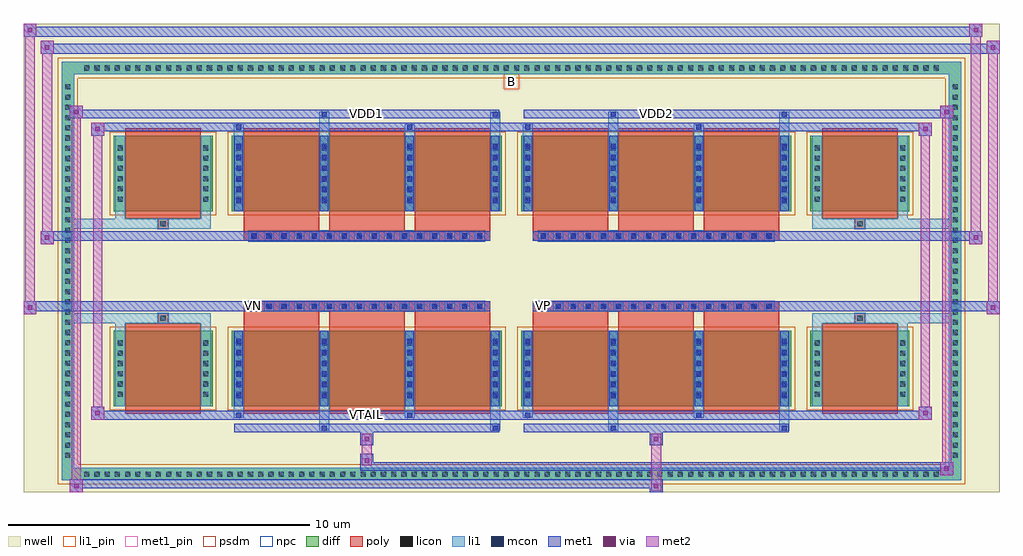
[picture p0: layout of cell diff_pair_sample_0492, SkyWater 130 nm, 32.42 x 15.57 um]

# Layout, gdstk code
import gdstk
lib = gdstk.Library(unit=1e-6, precision=5e-09)
def R(c, l, rs):  # rectangles x0, y0, x1, y1
    for r in rs: c.add(gdstk.rectangle(r[:2], r[2:], *l))
def A(c, l, x, y, w, h, nx, ny, dx, dy):  # array of equal rectangles
    R(c, l, [(x+i*dx, y+j*dy, x+i*dx+w, y+j*dy+h) for i in range(nx) for j in range(ny)])
def P(c, l, *ps):  # polygons
    for p in ps: c.add(gdstk.Polygon(p, *l))
nwell = (64, 20)
diff = (65, 20)
poly = (66, 20)
licon = (66, 44)
li1_pin = (67, 16)
li1 = (67, 20)
mcon = (67, 44)
met1_pin = (68, 16)
met1 = (68, 20)
via = (68, 44)
met2 = (69, 20)
psdm = (94, 20)
npc = (95, 20)

diff_pair_sample_0492 = lib.new_cell('diff_pair_sample_0492')
R(diff_pair_sample_0492, nwell, [(-16.21,-7.35,16.21,8.22), (-13.53,-5.54,-0.01,-0.8), (0.01,-5.54,13.53,-0.8), (-13.53,0.8,-0.01,5.54), (0.01,0.8,13.53,5.54)])
A(diff_pair_sample_0492, diff, -14.315, -6.95, 0.41, 0.41, 84, 2, 0.34, 13.49)
A(diff_pair_sample_0492, diff, -14.94, -6.325, 0.41, 0.41, 1, 37, 0, 0.34)
A(diff_pair_sample_0492, diff, 14.53, -6.325, 0.41, 0.41, 1, 37, 0, 0.34)
R(diff_pair_sample_0492, diff, [(-14.315,-6.95,14.315,-6.54), (-14.94,-6.325,-14.53,6.325), (14.53,-6.325,14.94,6.325), (-13.22,-4.495,-9.93,-1.985), (-9.29,-4.495,-0.32,-1.985), (0.32,-4.495,9.29,-1.985), (9.93,-4.495,13.22,-1.985), (-13.22,1.985,-9.93,4.495), (-9.29,1.985,-0.32,4.495), (0.32,1.985,9.29,4.495), (9.93,1.985,13.22,4.495), (-14.315,6.54,14.315,6.95)])
P(diff_pair_sample_0492, diff, [(14.94,6.95),(-14.94,6.95),(-14.94,-6.54),(-14.53,-6.54),(-14.53,6.54),(14.53,6.54),(14.53,-6.54),(-14.53,-6.54),(-14.94,-6.54),(-14.94,-6.95),(14.94,-6.95)])
A(diff_pair_sample_0492, poly, -8.9, -4.745, 2.51, 3.01, 3, 2, 2.84, 6.48)
A(diff_pair_sample_0492, poly, 0.71, -4.745, 2.51, 3.01, 3, 2, 2.84, 6.48)
A(diff_pair_sample_0492, poly, -8.9, -1.735, 2.51, 0.405, 3, 2, 2.84, 3.065)
A(diff_pair_sample_0492, poly, 0.71, -1.735, 2.51, 0.405, 3, 2, 2.84, 3.065)
A(diff_pair_sample_0492, poly, -8.72, -1.33, 0.33, 0.33, 16, 2, 0.5, 2.33)
A(diff_pair_sample_0492, poly, 0.89, -1.33, 0.33, 0.33, 16, 2, 0.5, 2.33)
R(diff_pair_sample_0492, poly, [(-12.83,-4.745,-10.32,-1.735), (10.32,-4.745,12.83,-1.735), (-11.74,-1.735,-11.41,-1.405), (-11.74,-1.735,-11.41,-1.405), (11.41,-1.735,11.74,-1.405), (11.41,-1.735,11.74,-1.405), (-8.9,-1.33,-0.71,-1), (0.71,-1.33,8.9,-1), (-8.9,1,-0.71,1.33), (0.71,1,8.9,1.33), (-11.74,1.405,-11.41,1.735), (-11.74,1.405,-11.41,1.735), (11.41,1.405,11.74,1.735), (11.41,1.405,11.74,1.735), (-12.83,1.735,-10.32,4.745), (10.32,1.735,12.83,4.745)])
A(diff_pair_sample_0492, licon, -14.195, -6.83, 0.17, 0.17, 84, 2, 0.34, 13.49)
A(diff_pair_sample_0492, licon, -14.82, -6.205, 0.17, 0.17, 1, 37, 0, 0.34)
A(diff_pair_sample_0492, licon, 14.65, -6.205, 0.17, 0.17, 1, 37, 0, 0.34)
A(diff_pair_sample_0492, licon, -13.08, -4.175, 0.17, 0.17, 1, 6, 0, 0.34)
A(diff_pair_sample_0492, licon, -10.24, -4.175, 0.17, 0.17, 1, 6, 0, 0.34)
A(diff_pair_sample_0492, licon, -9.15, -4.175, 0.17, 0.17, 4, 6, 2.84, 0.34)
A(diff_pair_sample_0492, licon, 0.46, -4.175, 0.17, 0.17, 4, 6, 2.84, 0.34)
A(diff_pair_sample_0492, licon, 10.07, -4.175, 0.17, 0.17, 1, 6, 0, 0.34)
A(diff_pair_sample_0492, licon, 12.91, -4.175, 0.17, 0.17, 1, 6, 0, 0.34)
A(diff_pair_sample_0492, licon, -8.64, -1.25, 0.17, 0.17, 16, 2, 0.5, 2.33)
A(diff_pair_sample_0492, licon, 0.97, -1.25, 0.17, 0.17, 16, 2, 0.5, 2.33)
A(diff_pair_sample_0492, licon, -13.08, 2.305, 0.17, 0.17, 1, 6, 0, 0.34)
A(diff_pair_sample_0492, licon, -10.24, 2.305, 0.17, 0.17, 1, 6, 0, 0.34)
A(diff_pair_sample_0492, licon, -9.15, 2.305, 0.17, 0.17, 4, 6, 2.84, 0.34)
A(diff_pair_sample_0492, licon, 0.46, 2.305, 0.17, 0.17, 4, 6, 2.84, 0.34)
A(diff_pair_sample_0492, licon, 10.07, 2.305, 0.17, 0.17, 1, 6, 0, 0.34)
A(diff_pair_sample_0492, licon, 12.91, 2.305, 0.17, 0.17, 1, 6, 0, 0.34)
R(diff_pair_sample_0492, licon, [(-11.66,-1.655,-11.49,-1.485), (11.49,-1.655,11.66,-1.485), (-11.66,1.485,-11.49,1.655), (11.49,1.485,11.66,1.655)])
R(diff_pair_sample_0492, li1_pin, [(-0.25,6.04,0.25,6.54)])
A(diff_pair_sample_0492, li1, -14.275, -6.91, 0.33, 0.33, 84, 2, 0.34, 13.49)
A(diff_pair_sample_0492, li1, -14.9, -6.285, 0.33, 0.33, 1, 37, 0, 0.34)
A(diff_pair_sample_0492, li1, 14.57, -6.285, 0.33, 0.33, 1, 37, 0, 0.34)
A(diff_pair_sample_0492, li1, -9.23, -4.495, 0.33, 2.51, 4, 2, 2.84, 6.48)
A(diff_pair_sample_0492, li1, 0.38, -4.495, 0.33, 2.51, 4, 2, 2.84, 6.48)
A(diff_pair_sample_0492, li1, -13.16, -4.255, 0.33, 0.33, 1, 6, 0, 0.34)
A(diff_pair_sample_0492, li1, -10.32, -4.255, 0.33, 0.33, 1, 6, 0, 0.34)
A(diff_pair_sample_0492, li1, -9.23, -4.255, 0.33, 0.33, 4, 6, 2.84, 0.34)
A(diff_pair_sample_0492, li1, 0.38, -4.255, 0.33, 0.33, 4, 6, 2.84, 0.34)
A(diff_pair_sample_0492, li1, 9.99, -4.255, 0.33, 0.33, 1, 6, 0, 0.34)
A(diff_pair_sample_0492, li1, 12.83, -4.255, 0.33, 0.33, 1, 6, 0, 0.34)
A(diff_pair_sample_0492, li1, -9.15, -4.225, 0.17, 0.17, 4, 6, 2.84, 0.36)
A(diff_pair_sample_0492, li1, -9.15, -4.225, 0.17, 1.97, 4, 2, 2.84, 6.48)
A(diff_pair_sample_0492, li1, 0.46, -4.225, 0.17, 0.17, 4, 6, 2.84, 0.36)
A(diff_pair_sample_0492, li1, 0.46, -4.225, 0.17, 1.97, 4, 2, 2.84, 6.48)
A(diff_pair_sample_0492, li1, -8.72, -1.33, 0.33, 0.33, 16, 2, 0.5, 2.33)
A(diff_pair_sample_0492, li1, 0.89, -1.33, 0.33, 0.33, 16, 2, 0.5, 2.33)
A(diff_pair_sample_0492, li1, -13.16, 2.225, 0.33, 0.33, 1, 6, 0, 0.34)
A(diff_pair_sample_0492, li1, -10.32, 2.225, 0.33, 0.33, 1, 6, 0, 0.34)
A(diff_pair_sample_0492, li1, -9.23, 2.225, 0.33, 0.33, 4, 6, 2.84, 0.34)
A(diff_pair_sample_0492, li1, 0.38, 2.225, 0.33, 0.33, 4, 6, 2.84, 0.34)
A(diff_pair_sample_0492, li1, 9.99, 2.225, 0.33, 0.33, 1, 6, 0, 0.34)
A(diff_pair_sample_0492, li1, 12.83, 2.225, 0.33, 0.33, 1, 6, 0, 0.34)
A(diff_pair_sample_0492, li1, -9.15, 2.255, 0.17, 0.17, 4, 6, 2.84, 0.36)
A(diff_pair_sample_0492, li1, 0.46, 2.255, 0.17, 0.17, 4, 6, 2.84, 0.36)
R(diff_pair_sample_0492, li1, [(-14.94,-6.95,-14.53,-6.54), (-14.94,-6.95,-14.53,-6.54), (-14.53,-6.95,14.53,-6.54), (14.53,-6.95,14.94,-6.54), (14.53,-6.95,14.94,-6.54), (-14.94,-6.54,-14.53,6.54), (14.53,-6.54,14.94,6.54), (-6.39,-5.3,-6.06,-4.495), (-6.31,-5.3,-6.14,-5.13), (-0.71,-5.3,-0.38,-4.495), (-0.63,-5.3,-0.46,-5.13), (3.22,-5.3,3.55,-4.495), (3.3,-5.3,3.47,-5.13), (8.9,-5.3,9.23,-4.495), (8.98,-5.3,9.15,-5.13), (-9.23,-4.87,-8.9,-4.495), (-9.15,-4.87,-8.98,-4.7), (-3.55,-4.87,-3.22,-4.495), (-3.47,-4.87,-3.3,-4.7), (0.38,-4.87,0.71,-4.495), (0.46,-4.87,0.63,-4.7), (6.06,-4.87,6.39,-4.495), (6.14,-4.87,6.31,-4.7), (-13.16,-4.495,-12.83,-1.985), (-10.32,-4.495,-9.99,-1.985), (9.99,-4.495,10.32,-1.985), (12.83,-4.495,13.16,-1.985), (-13.16,-1.985,-12.83,-1.405), (-10.32,-1.985,-9.99,-1.405), (9.99,-1.985,10.32,-1.405), (12.83,-1.985,13.16,-1.405), (-14.94,-1.735,-11.74,-1.405), (-13.16,-1.735,-11.74,-1.405), (-11.74,-1.735,-11.41,-1.405), (-11.41,-1.735,-9.99,-1.405), (9.99,-1.735,11.41,-1.405), (11.41,-1.735,11.74,-1.405), (11.41,-1.735,14.94,-1.405), (11.74,-1.735,13.16,-1.405), (-14.94,1.405,-11.74,1.735), (-13.16,1.405,-11.74,1.735), (-13.16,1.405,-12.83,1.985), (-11.74,1.405,-11.41,1.735), (-11.41,1.405,-9.99,1.735), (-10.32,1.405,-9.99,1.985), (9.99,1.405,11.41,1.735), (9.99,1.405,10.32,1.985), (11.41,1.405,11.74,1.735), (11.41,1.405,14.94,1.735), (11.74,1.405,13.16,1.735), (12.83,1.405,13.16,1.985), (-13.16,1.985,-12.83,4.495), (-10.32,1.985,-9.99,4.495), (9.99,1.985,10.32,4.495), (12.83,1.985,13.16,4.495), (-9.23,4.495,-8.9,4.87), (-6.39,4.495,-6.06,5.3), (-3.55,4.495,-3.22,4.87), (-0.71,4.495,-0.38,5.3), (0.38,4.495,0.71,4.87), (3.22,4.495,3.55,5.3), (6.06,4.495,6.39,4.87), (8.9,4.495,9.23,5.3), (-9.15,4.7,-8.98,4.87), (-3.47,4.7,-3.3,4.87), (0.46,4.7,0.63,4.87), (6.14,4.7,6.31,4.87), (-6.31,5.13,-6.14,5.3), (-0.63,5.13,-0.46,5.3), (3.3,5.13,3.47,5.3), (8.98,5.13,9.15,5.3), (-14.94,6.54,-14.53,6.95), (-14.94,6.54,-14.53,6.95), (-14.53,6.54,14.53,6.95), (14.53,6.54,14.94,6.95), (14.53,6.54,14.94,6.95)])
A(diff_pair_sample_0492, mcon, -9.15, -4.225, 0.17, 0.17, 4, 6, 2.84, 0.36)
A(diff_pair_sample_0492, mcon, 0.46, -4.225, 0.17, 0.17, 4, 6, 2.84, 0.36)
A(diff_pair_sample_0492, mcon, -8.64, -1.25, 0.17, 0.17, 16, 2, 0.5, 2.33)
A(diff_pair_sample_0492, mcon, 0.97, -1.25, 0.17, 0.17, 16, 2, 0.5, 2.33)
A(diff_pair_sample_0492, mcon, -9.15, 2.255, 0.17, 0.17, 4, 6, 2.84, 0.36)
A(diff_pair_sample_0492, mcon, 0.46, 2.255, 0.17, 0.17, 4, 6, 2.84, 0.36)
R(diff_pair_sample_0492, mcon, [(-6.31,-5.3,-6.14,-5.13), (-0.63,-5.3,-0.46,-5.13), (3.3,-5.3,3.47,-5.13), (8.98,-5.3,9.15,-5.13), (-9.15,-4.87,-8.98,-4.7), (-3.47,-4.87,-3.3,-4.7), (0.46,-4.87,0.63,-4.7), (6.14,-4.87,6.31,-4.7), (-9.15,4.7,-8.98,4.87), (-3.47,4.7,-3.3,4.87), (0.46,4.7,0.63,4.87), (6.14,4.7,6.31,4.87), (-6.31,5.13,-6.14,5.3), (-0.63,5.13,-0.46,5.3), (3.3,5.13,3.47,5.3), (8.98,5.13,9.15,5.3)])
R(diff_pair_sample_0492, met1_pin, [(-4.94,-4.91,-4.67,-4.64), (-8.69,-1.29,-8.42,-1.02), (0.92,-1.29,1.19,-1.02), (-4.94,5.09,-4.67,5.36), (4.67,5.09,4.94,5.36)])
A(diff_pair_sample_0492, met1, -9.21, -4.495, 0.29, 2.51, 4, 2, 2.84, 6.48)
A(diff_pair_sample_0492, met1, 0.4, -4.495, 0.29, 2.51, 4, 2, 2.84, 6.48)
A(diff_pair_sample_0492, met1, -9.21, -4.285, 0.29, 0.29, 4, 6, 2.84, 0.36)
A(diff_pair_sample_0492, met1, 0.4, -4.285, 0.29, 0.29, 4, 6, 2.84, 0.36)
A(diff_pair_sample_0492, met1, -8.7, -1.31, 0.29, 0.29, 16, 2, 0.5, 2.33)
A(diff_pair_sample_0492, met1, 0.91, -1.31, 0.29, 0.29, 16, 2, 0.5, 2.33)
A(diff_pair_sample_0492, met1, -9.21, 2.195, 0.29, 0.29, 4, 6, 2.84, 0.36)
A(diff_pair_sample_0492, met1, 0.4, 2.195, 0.29, 0.29, 4, 6, 2.84, 0.36)
R(diff_pair_sample_0492, met1, [(-14.67,-7.35,-14.24,-6.92), (4.59,-7.35,5.02,-6.92), (-14.67,-7.21,5.02,-6.92), (14.24,-6.78,14.67,-6.35), (-5.02,-6.64,14.67,-6.35), (-5.02,-6.5,-4.59,-6.07), (-5.02,-5.79,-4.59,-5.36), (4.59,-5.79,5.02,-5.36), (-9.21,-5.36,-0.4,-5.07), (-6.37,-5.36,-6.08,-5.07), (-0.69,-5.36,-0.4,-5.07), (0.4,-5.36,9.21,-5.07), (3.24,-5.36,3.53,-5.07), (8.92,-5.36,9.21,-5.07), (-13.96,-4.93,-13.53,-4.5), (-13.96,-4.93,-9.21,-4.64), (-9.21,-4.93,-8.92,-4.64), (-9.21,-4.93,-0.4,-4.64), (-3.53,-4.93,-3.24,-4.64), (-0.4,-4.93,0.4,-4.64), (0.4,-4.93,0.69,-4.64), (0.4,-4.93,9.21,-4.64), (6.08,-4.93,6.37,-4.64), (9.21,-4.93,13.96,-4.64), (13.53,-4.93,13.96,-4.5), (-16.21,-1.43,-15.78,-1), (15.78,-1.43,16.21,-1), (-16.21,-1.33,-0.71,-1), (-8.9,-1.33,-0.71,-1), (0.71,-1.33,8.9,-1), (0.71,-1.33,16.21,-1), (-15.64,0.9,-15.21,1.33), (15.21,0.9,15.64,1.33), (-15.64,1,-8.9,1.33), (-8.9,1,-0.71,1.33), (0.71,1,8.9,1.33), (8.9,1,15.64,1.33), (-13.96,4.5,-13.53,4.93), (13.53,4.5,13.96,4.93), (-13.96,4.64,-9.21,4.93), (-9.21,4.64,-8.92,4.93), (-9.21,4.64,-0.4,4.93), (-3.53,4.64,-3.24,4.93), (-0.4,4.64,0.4,4.93), (0.4,4.64,0.69,4.93), (0.4,4.64,9.21,4.93), (6.08,4.64,6.37,4.93), (9.21,4.64,13.96,4.93), (-14.67,5.07,-14.24,5.5), (-14.67,5.07,-9.21,5.36), (-9.21,5.07,-0.4,5.36), (-6.37,5.07,-6.08,5.36), (-0.69,5.07,-0.4,5.36), (0.4,5.07,9.21,5.36), (3.24,5.07,3.53,5.36), (8.92,5.07,9.21,5.36), (9.21,5.07,14.67,5.36), (14.24,5.07,14.67,5.5), (-15.64,7.22,-15.21,7.65), (-15.64,7.22,-13.53,7.55), (-13.53,7.22,13.53,7.55), (13.53,7.22,16.21,7.55), (15.78,7.22,16.21,7.65), (-16.21,7.79,-15.78,8.22), (-16.21,7.79,-13.53,8.12), (-13.53,7.79,13.53,8.12), (13.53,7.79,15.64,8.12), (15.21,7.79,15.64,8.22)])
R(diff_pair_sample_0492, via, [(-14.53,-7.21,-14.38,-7.06), (4.73,-7.21,4.88,-7.06), (14.38,-6.64,14.53,-6.49), (-4.88,-6.36,-4.73,-6.21), (-4.88,-5.65,-4.73,-5.5), (4.73,-5.65,4.88,-5.5), (-13.82,-4.79,-13.67,-4.64), (13.67,-4.79,13.82,-4.64), (-16.07,-1.29,-15.92,-1.14), (15.92,-1.29,16.07,-1.14), (-15.5,1.04,-15.35,1.19), (15.35,1.04,15.5,1.19), (-13.82,4.64,-13.67,4.79), (13.67,4.64,13.82,4.79), (-14.53,5.21,-14.38,5.36), (14.38,5.21,14.53,5.36), (-15.5,7.36,-15.35,7.51), (15.92,7.36,16.07,7.51), (-16.07,7.93,-15.92,8.08), (15.35,7.93,15.5,8.08)])
R(diff_pair_sample_0492, met2, [(-14.67,-7.35,-14.24,-6.92), (-14.6,-7.35,-14.31,5.5), (-14.31,-7.35,-14.24,-6.92), (-14.62,-7.3,-14.29,-6.97), (4.64,-7.3,4.97,-6.97), (4.64,-6.97,4.97,-5.74), (14.24,-6.78,14.67,-6.35), (14.31,-6.78,14.6,5.5), (14.6,-6.78,14.67,-6.35), (14.29,-6.73,14.62,-6.4), (-4.97,-6.45,-4.64,-6.12), (-4.97,-6.12,-4.64,-5.74), (-4.97,-5.74,-4.64,-5.41), (4.64,-5.74,4.97,-5.41), (-13.96,-4.93,-13.53,-4.5), (-13.89,-4.93,-13.6,4.93), (-13.6,-4.93,-13.53,-4.5), (13.53,-4.93,13.96,-4.5), (13.6,-4.93,13.89,4.93), (13.89,-4.93,13.96,-4.5), (-13.91,-4.88,-13.58,-4.55), (13.58,-4.88,13.91,-4.55), (-16.21,-1.43,-15.78,-1), (-16.16,-1.43,-15.83,8.22), (-15.83,-1.43,-15.78,-1), (15.78,-1.43,16.21,-1), (15.83,-1.43,16.16,7.65), (16.16,-1.43,16.21,-1), (-16.16,-1.38,-15.83,-1.05), (15.83,-1.38,16.16,-1.05), (-15.64,0.9,-15.21,1.33), (-15.59,0.9,-15.26,7.65), (-15.26,0.9,-15.21,1.33), (15.21,0.9,15.64,1.33), (15.26,0.9,15.59,8.22), (15.59,0.9,15.64,1.33), (-15.59,0.95,-15.26,1.28), (15.26,0.95,15.59,1.28), (-13.96,4.5,-13.53,4.93), (-13.6,4.5,-13.53,4.93), (13.53,4.5,13.96,4.93), (13.89,4.5,13.96,4.93), (-13.91,4.55,-13.58,4.88), (13.58,4.55,13.91,4.88), (-14.67,5.07,-14.24,5.5), (-14.31,5.07,-14.24,5.5), (14.24,5.07,14.67,5.5), (14.6,5.07,14.67,5.5), (-14.62,5.12,-14.29,5.45), (14.29,5.12,14.62,5.45), (-15.64,7.22,-15.21,7.65), (-15.26,7.22,-15.21,7.65), (15.78,7.22,16.21,7.65), (16.16,7.22,16.21,7.65), (-15.59,7.27,-15.26,7.6), (15.83,7.27,16.16,7.6), (-16.21,7.79,-15.78,8.22), (-15.83,7.79,-15.78,8.22), (15.21,7.79,15.64,8.22), (15.59,7.79,15.64,8.22), (-16.16,7.84,-15.83,8.17), (15.26,7.84,15.59,8.17)])
R(diff_pair_sample_0492, psdm, [(-13.35,-4.625,-9.8,-1.855), (-9.42,-4.625,-0.19,-1.855), (0.19,-4.625,9.42,-1.855), (9.8,-4.625,13.35,-1.855), (-13.35,1.855,-9.8,4.625), (-9.42,1.855,-0.19,4.625), (0.19,1.855,9.42,4.625), (9.8,1.855,13.35,4.625)])
P(diff_pair_sample_0492, psdm, [(15.07,7.08),(-15.07,7.08),(-15.07,-6.41),(-14.4,-6.41),(-14.4,6.41),(14.4,6.41),(14.4,-6.41),(-14.4,-6.41),(-15.07,-6.41),(-15.07,-7.08),(15.07,-7.08)])
A(diff_pair_sample_0492, npc, -8.74, -1.35, 0.37, 0.37, 16, 2, 0.5, 2.33)
A(diff_pair_sample_0492, npc, 0.87, -1.35, 0.37, 0.37, 16, 2, 0.5, 2.33)
R(diff_pair_sample_0492, npc, [(-11.76,-1.755,-11.39,-1.385), (11.39,-1.755,11.76,-1.385), (-8.74,-1.35,-7.87,-0.98), (-8.74,-1.35,-7.87,-0.98), (-8.24,-1.35,-7.37,-0.98), (-8.24,-1.35,-7.37,-0.98), (-7.74,-1.35,-6.87,-0.98), (-7.74,-1.35,-6.87,-0.98), (-7.24,-1.35,-6.37,-0.98), (-7.24,-1.35,-6.37,-0.98), (-6.74,-1.35,-5.87,-0.98), (-6.74,-1.35,-5.87,-0.98), (-6.24,-1.35,-5.37,-0.98), (-6.24,-1.35,-5.37,-0.98), (-5.74,-1.35,-4.87,-0.98), (-5.74,-1.35,-4.87,-0.98), (-5.24,-1.35,-4.37,-0.98), (-5.24,-1.35,-4.37,-0.98), (-4.74,-1.35,-3.87,-0.98), (-4.74,-1.35,-3.87,-0.98), (-4.24,-1.35,-3.37,-0.98), (-4.24,-1.35,-3.37,-0.98), (-3.74,-1.35,-2.87,-0.98), (-3.74,-1.35,-2.87,-0.98), (-3.24,-1.35,-2.37,-0.98), (-3.24,-1.35,-2.37,-0.98), (-2.74,-1.35,-1.87,-0.98), (-2.74,-1.35,-1.87,-0.98), (-2.24,-1.35,-1.37,-0.98), (-2.24,-1.35,-1.37,-0.98), (-1.74,-1.35,-0.87,-0.98), (-1.74,-1.35,-0.87,-0.98), (0.87,-1.35,1.74,-0.98), (0.87,-1.35,1.74,-0.98), (1.37,-1.35,2.24,-0.98), (1.37,-1.35,2.24,-0.98), (1.87,-1.35,2.74,-0.98), (1.87,-1.35,2.74,-0.98), (2.37,-1.35,3.24,-0.98), (2.37,-1.35,3.24,-0.98), (2.87,-1.35,3.74,-0.98), (2.87,-1.35,3.74,-0.98), (3.37,-1.35,4.24,-0.98), (3.37,-1.35,4.24,-0.98), (3.87,-1.35,4.74,-0.98), (3.87,-1.35,4.74,-0.98), (4.37,-1.35,5.24,-0.98), (4.37,-1.35,5.24,-0.98), (4.87,-1.35,5.74,-0.98), (4.87,-1.35,5.74,-0.98), (5.37,-1.35,6.24,-0.98), (5.37,-1.35,6.24,-0.98), (5.87,-1.35,6.74,-0.98), (5.87,-1.35,6.74,-0.98), (6.37,-1.35,7.24,-0.98), (6.37,-1.35,7.24,-0.98), (6.87,-1.35,7.74,-0.98), (6.87,-1.35,7.74,-0.98), (7.37,-1.35,8.24,-0.98), (7.37,-1.35,8.24,-0.98), (7.87,-1.35,8.74,-0.98), (7.87,-1.35,8.74,-0.98), (-8.74,0.98,-7.87,1.35), (-8.74,0.98,-7.87,1.35), (-8.24,0.98,-7.37,1.35), (-8.24,0.98,-7.37,1.35), (-7.74,0.98,-6.87,1.35), (-7.74,0.98,-6.87,1.35), (-7.24,0.98,-6.37,1.35), (-7.24,0.98,-6.37,1.35), (-6.74,0.98,-5.87,1.35), (-6.74,0.98,-5.87,1.35), (-6.24,0.98,-5.37,1.35), (-6.24,0.98,-5.37,1.35), (-5.74,0.98,-4.87,1.35), (-5.74,0.98,-4.87,1.35), (-5.24,0.98,-4.37,1.35), (-5.24,0.98,-4.37,1.35), (-4.74,0.98,-3.87,1.35), (-4.74,0.98,-3.87,1.35), (-4.24,0.98,-3.37,1.35), (-4.24,0.98,-3.37,1.35), (-3.74,0.98,-2.87,1.35), (-3.74,0.98,-2.87,1.35), (-3.24,0.98,-2.37,1.35), (-3.24,0.98,-2.37,1.35), (-2.74,0.98,-1.87,1.35), (-2.74,0.98,-1.87,1.35), (-2.24,0.98,-1.37,1.35), (-2.24,0.98,-1.37,1.35), (-1.74,0.98,-0.87,1.35), (-1.74,0.98,-0.87,1.35), (0.87,0.98,1.74,1.35), (0.87,0.98,1.74,1.35), (1.37,0.98,2.24,1.35), (1.37,0.98,2.24,1.35), (1.87,0.98,2.74,1.35), (1.87,0.98,2.74,1.35), (2.37,0.98,3.24,1.35), (2.37,0.98,3.24,1.35), (2.87,0.98,3.74,1.35), (2.87,0.98,3.74,1.35), (3.37,0.98,4.24,1.35), (3.37,0.98,4.24,1.35), (3.87,0.98,4.74,1.35), (3.87,0.98,4.74,1.35), (4.37,0.98,5.24,1.35), (4.37,0.98,5.24,1.35), (4.87,0.98,5.74,1.35), (4.87,0.98,5.74,1.35), (5.37,0.98,6.24,1.35), (5.37,0.98,6.24,1.35), (5.87,0.98,6.74,1.35), (5.87,0.98,6.74,1.35), (6.37,0.98,7.24,1.35), (6.37,0.98,7.24,1.35), (6.87,0.98,7.74,1.35), (6.87,0.98,7.74,1.35), (7.37,0.98,8.24,1.35), (7.37,0.98,8.24,1.35), (7.87,0.98,8.74,1.35), (7.87,0.98,8.74,1.35), (-11.76,1.385,-11.39,1.755), (11.39,1.385,11.76,1.755)])
diff_pair_sample_0492.add(gdstk.Label('VTAIL', (-4.805,-4.775), layer=68, texttype=5))
diff_pair_sample_0492.add(gdstk.Label('VN', (-8.555,-1.155), layer=68, texttype=5))
diff_pair_sample_0492.add(gdstk.Label('VP', (1.055,-1.155), layer=68, texttype=5))
diff_pair_sample_0492.add(gdstk.Label('B', (0,6.29), layer=67, texttype=5))
diff_pair_sample_0492.add(gdstk.Label('VDD2', (4.805,5.225), layer=68, texttype=5))
diff_pair_sample_0492.add(gdstk.Label('VDD1', (-4.805,5.225), layer=68, texttype=5))

lib.write_gds('diff_pair_sample_0492.gds')
